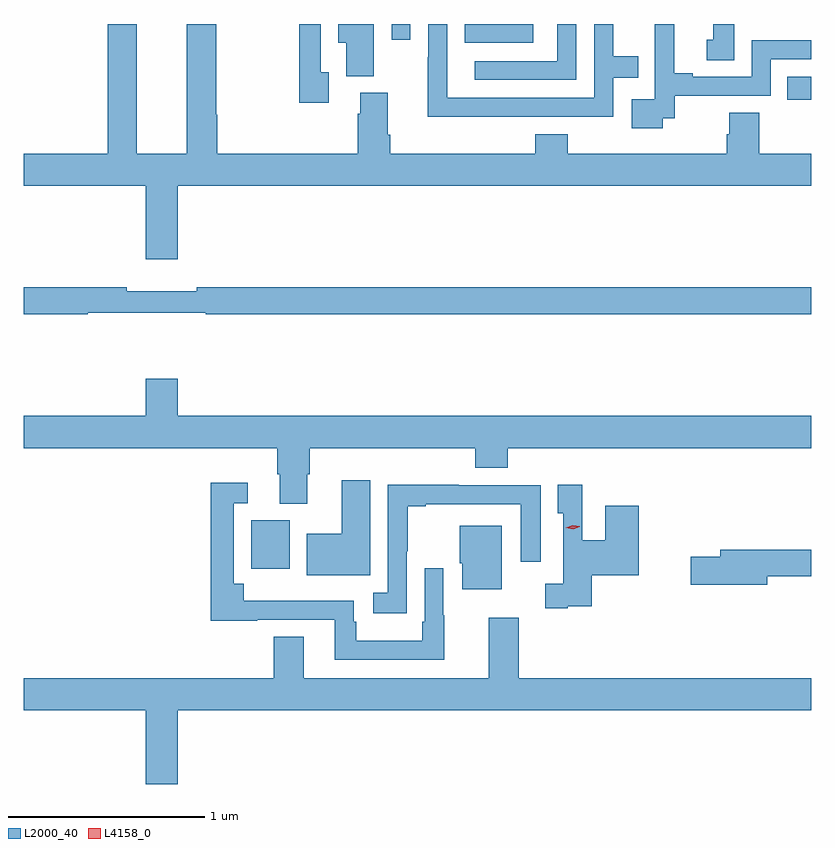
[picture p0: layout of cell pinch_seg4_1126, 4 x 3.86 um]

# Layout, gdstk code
import gdstk
lib = gdstk.Library(unit=1e-6, precision=1e-09)
def R(c, l, rs):  # rectangles x0, y0, x1, y1
    for r in rs: c.add(gdstk.rectangle(r[:2], r[2:], *l))
def P(c, l, *ps):  # polygons
    for p in ps: c.add(gdstk.Polygon(p, *l))
L2000_40 = (2000, 40)
L4158_0 = (4158, 0)

pinch_seg4_1126 = lib.new_cell('pinch_seg4_1126')
R(pinch_seg4_1126, L2000_40, [(465.245,770.9,465.439,771.145), (467.968,773.282,468.089,773.397), (466.328,773.57,466.678,773.666), (465.957,773.586,466.053,773.666)])
P(pinch_seg4_1126, L2000_40, [(465.868,773.666),(465.686,773.666),(465.686,773.57),(465.728,773.57),(465.728,773.401),(465.868,773.401)],
  [(466.896,773.666),(466.8,773.666),(466.8,773.478),(466.38,773.478),(466.38,773.382),(466.896,773.382)],
  [(464.872,772.844),(468.089,772.844),(468.089,773.008),(467.825,773.008),(467.825,773.216),(467.672,773.216),(467.672,773.106),(467.66,773.106),(467.66,773.008),(466.853,773.008),(466.853,773.107),(466.688,773.107),(466.688,773.008),(465.95,773.008),(465.95,773.104),(465.937,773.104),(465.937,773.316),(465.797,773.316),(465.797,773.21),(465.785,773.21),(465.785,773.008),(465.071,773.008),(465.071,773.204),(465.066,773.204),(465.066,773.666),(464.918,773.666),(464.918,773.008),(464.662,773.008),(464.662,773.666),(464.515,773.666),(464.515,773.008),(464.089,773.008),(464.089,772.844),(464.708,772.844),(464.708,772.47),(464.872,772.47)],
  [(465.637,773.421),(465.597,773.421),(465.597,773.666),(465.489,773.666),(465.489,773.265),(465.637,773.265)],
  [(467.698,773.666),(467.591,773.666),(467.591,773.586),(467.558,773.586),(467.558,773.482),(467.698,773.482)],
  [(466.604,773.196),(467.082,773.196),(467.082,773.394),(467.21,773.394),(467.21,773.503),(467.083,773.503),(467.083,773.666),(466.986,773.666),(466.986,773.292),(466.239,773.292),(466.239,773.666),(466.143,773.666),(466.143,773.498),(466.142,773.498),(466.142,773.195),(466.604,773.195)],
  [(467.334,773.187),(467.396,773.187),(467.396,773.301),(467.883,773.301),(467.883,773.487),(468.089,773.487),(468.089,773.583),(467.787,773.583),(467.787,773.397),(467.488,773.397),(467.488,773.417),(467.392,773.417),(467.392,773.666),(467.294,773.666),(467.294,773.587),(467.295,773.587),(467.295,773.283),(467.178,773.283),(467.178,773.136),(467.334,773.136)],
  [(464.414,772.2),(465.014,772.2),(465.014,772.192),(468.089,772.192),(468.089,772.328),(464.968,772.328),(464.968,772.309),(464.612,772.309),(464.612,772.328),(464.089,772.328),(464.089,772.192),(464.414,772.192)],
  [(465.529,771.378),(465.542,771.378),(465.542,771.512),(466.382,771.512),(466.382,771.413),(466.547,771.413),(466.547,771.512),(468.089,771.512),(468.089,771.676),(464.872,771.676),(464.872,771.865),(464.708,771.865),(464.708,771.676),(464.089,771.676),(464.089,771.512),(465.377,771.512),(465.377,771.378),(465.389,771.378),(465.389,771.23),(465.529,771.23)],
  [(465.85,771.349),(465.704,771.349),(465.704,771.076),(465.527,771.076),(465.527,770.867),(465.85,770.867)],
  [(466.224,770.664),(466.221,770.664),(466.221,770.902),(466.125,770.902),(466.125,770.629),(466.113,770.629),(466.113,770.533),(465.778,770.533),(465.778,770.631),(465.765,770.631),(465.765,770.737),(465.206,770.737),(465.206,770.824),(465.156,770.824),(465.156,771.231),(465.226,771.231),(465.226,771.337),(465.04,771.337),(465.04,770.958),(465.039,770.958),(465.039,770.635),(465.275,770.635),(465.275,770.64),(465.668,770.64),(465.668,770.436),(466.224,770.436)],
  [(466.035,770.989),(466.04,770.989),(466.04,771.216),(466.132,771.216),(466.132,771.228),(466.613,771.228),(466.613,770.934),(466.714,770.934),(466.714,771.324),(466.298,771.324),(466.298,771.326),(465.939,771.326),(465.939,770.778),(465.864,770.778),(465.864,770.673),(466.035,770.673)],
  [(466.853,770.708),(466.973,770.708),(466.973,770.867),(467.213,770.867),(467.213,771.22),(467.042,771.22),(467.042,771.043),(466.926,771.043),(466.926,771.325),(466.802,771.325),(466.802,771.18),(466.83,771.18),(466.83,770.822),(466.737,770.822),(466.737,770.698),(466.853,770.698)],
  [(466.516,771.118),(466.304,771.118),(466.304,770.928),(466.316,770.928),(466.316,770.795),(466.516,770.795)],
  [(467.866,770.86),(468.089,770.86),(468.089,770.996),(467.627,770.996),(467.627,770.96),(467.478,770.96),(467.478,770.818),(467.866,770.818)],
  [(464.872,770.18),(468.089,770.18),(468.089,770.344),(466.604,770.344),(466.604,770.65),(466.451,770.65),(466.451,770.344),(465.511,770.344),(465.511,770.555),(465.359,770.555),(465.359,770.344),(464.089,770.344),(464.089,770.18),(464.708,770.18),(464.708,769.806),(464.872,769.806)])
P(pinch_seg4_1126, L4158_0, [(466.879,771.101),(466.843,771.108),(466.843,771.108),(466.843,771.108),(466.878,771.121),(466.914,771.114),(466.914,771.114),(466.914,771.113)])

lib.write_gds('pinch_seg4_1126.gds')
